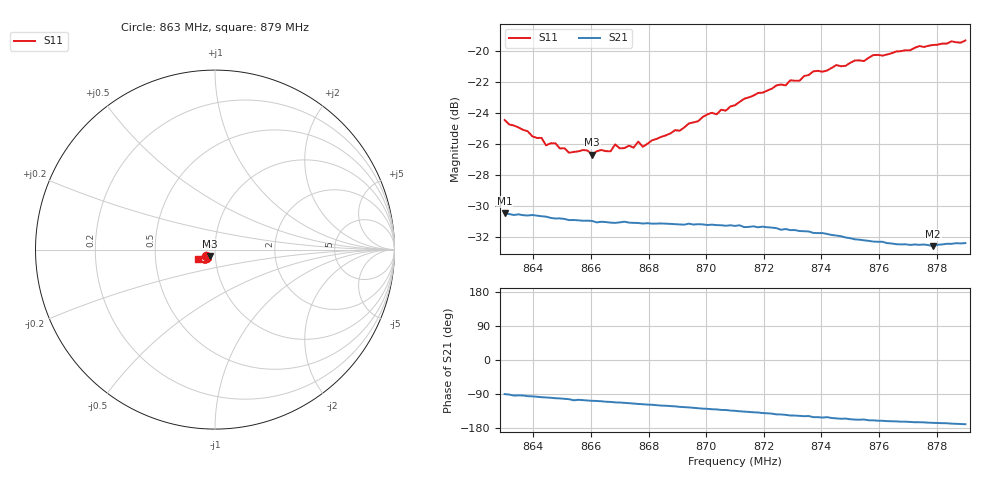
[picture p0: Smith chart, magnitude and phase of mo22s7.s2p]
# HZ S RI R 50
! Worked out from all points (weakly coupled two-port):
!   101 points, 863 MHz to 879 MHz, reference 50 ohm
!   highest |S21| = -30.49 dB at 863 MHz (marker M1); lowest = -32.6 dB at 877.88 MHz (marker M2)
!   lowest |S11| = -26.7 dB at 866.04 MHz (marker M3), VSWR 1.10, Z = 47.1 - j3.39 ohm
!   |S11| at or under -10 dB: start of sweep to end of sweep
!   S12 and S22 are empty: the file has one direction only
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8.63e8  -0.0481 -0.0355  -1e-05 -0.0299  0 0  0 0
8.6428e8  -0.0394 -0.0345  -0.00417 -0.0289  0 0  0 0
8.6444e8  -0.0377 -0.0321  -0.0045 -0.0288  0 0  0 0
8.6476e8  -0.0368 -0.0343  -0.00542 -0.0282  0 0  0 0
8.6524e8  -0.0325 -0.0338  -0.00662 -0.0276  0 0  0 0
8.6572e8  -0.0308 -0.0366  -0.00777 -0.0272  0 0  0 0
8.6604e8  -0.029 -0.036  -0.00858 -0.0269  0 0  0 0
8.6636e8  -0.0296 -0.0376  -0.00907 -0.0266  0 0  0 0
8.6668e8  -0.0273 -0.0387  -0.00984 -0.0261  0 0  0 0
8.6684e8  -0.0281 -0.0412  -0.0104 -0.0258  0 0  0 0
8.67e8  -0.0266 -0.0405  -0.0106 -0.0259  0 0  0 0
8.6748e8  -0.0236 -0.0426  -0.0117 -0.0253  0 0  0 0
8.6764e8  -0.025 -0.0444  -0.0122 -0.025  0 0  0 0
8.678e8  -0.0238 -0.0428  -0.0124 -0.0247  0 0  0 0
8.6844e8  -0.0238 -0.0471  -0.014 -0.0239  0 0  0 0
8.71e8  -0.0279 -0.0607  -0.0189 -0.0196  0 0  0 0
8.7244e8  -0.0379 -0.0675  -0.0215 -0.0159  0 0  0 0
8.7324e8  -0.0414 -0.0686  -0.0221 -0.0141  0 0  0 0
8.7372e8  -0.0467 -0.072  -0.0226 -0.0126  0 0  0 0
8.7644e8  -0.0708 -0.0681  -0.0227 -0.00753  0 0  0 0
8.7788e8  -0.0854 -0.0603  -0.0227 -0.00574  0 0  0 0
8.79e8  -0.0947 -0.0521  -0.0235 -0.00438  0 0  0 0
